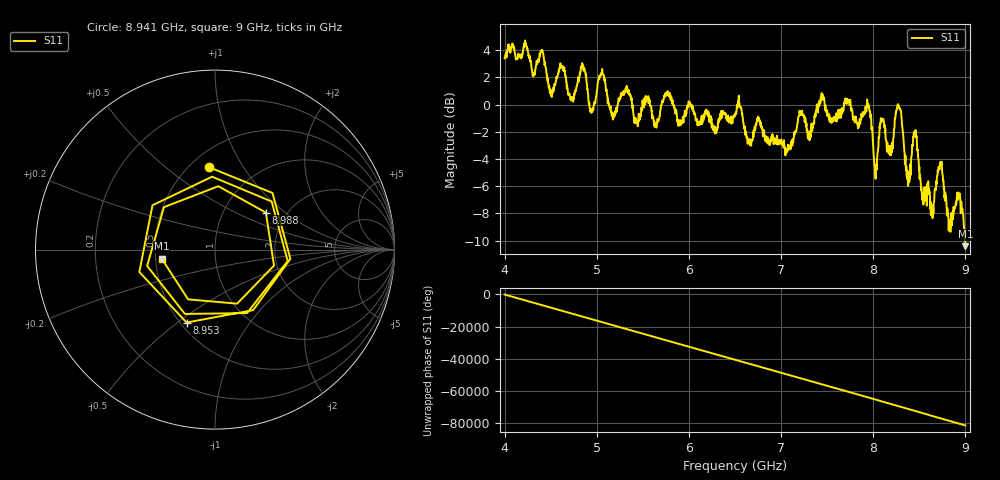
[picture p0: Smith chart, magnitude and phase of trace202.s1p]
! Created with skrf 1.8.0 (http://scikit-rf.org).
# Hz S RI R 50.0
!freq ReS11 ImS11
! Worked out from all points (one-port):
!   1601 points, 4 GHz to 9 GHz, reference 50 ohm
!   lowest |S11| = -10.4 dB at 9 GHz (marker M1), VSWR 1.86, Z = 27 - j2.94 ohm
!   |S11| at or under -10 dB: 8.996674 GHz to end of sweep
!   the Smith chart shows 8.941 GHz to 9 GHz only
!   S11 on the Smith chart (normalised r, x): 8.941 GHz: 0.62, +0.72; 8.953 GHz: 0.54, -0.54; 8.988 GHz: 1.58, +0.74; 9 GHz: 0.54, -0.06
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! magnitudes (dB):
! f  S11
! 4 GHz  3.4
! 4.403 GHz  4.0
! 4.509 GHz  0.8
! 4.625 GHz  2.8
! 4.731 GHz  0.5
! 4.853 GHz  2.9
! 4.941 GHz  -0.4
! 5.05 GHz  2.2
! 5.25 GHz  0.5
! 5.875 GHz  -1.1
! 6.5 GHz  -0.7
! 7.125 GHz  -2.6
! 7.75 GHz  0.3
! 7.953 GHz  -0.1
! 8.028 GHz  -4.7
! 8.091 GHz  -1.2
! 8.188 GHz  -3.4
! 8.278 GHz  -0.1
! 8.375 GHz  -5.4
! 8.45 GHz  -2.1
! 8.544 GHz  -7.4
! 8.641 GHz  -8.0
! 8.725 GHz  -4.3
! 8.828 GHz  -8.8
! 8.941 GHz  -6.7
! 8.953 GHz  -7.2
! 8.988 GHz  -9.1
! 9 GHz  -10.4
